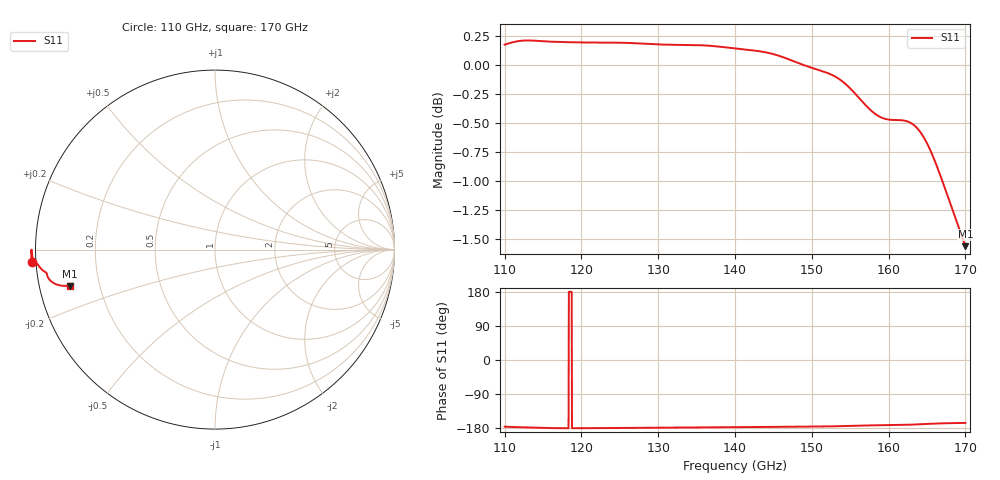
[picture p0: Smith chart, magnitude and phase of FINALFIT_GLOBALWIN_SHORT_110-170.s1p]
! Generated by Phase I extraction
# Hz S RI R 50
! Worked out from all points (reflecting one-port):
!   1471 points, 110 GHz to 170 GHz, reference 50 ohm
!   lowest |S11| = -1.6 dB at 170 GHz (marker M1), VSWR 11.15, Z = 4.55 - j6.08 ohm
!   phase of S11 starts at -176 deg and turns +10 deg over the sweep
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1.1e11  -1.018 -0.0711
1.122857e11  -1.023 -0.0437
1.13551e11  -1.024 -0.0311
1.15102e11  -1.023 -0.0116
1.162857e11  -1.023 -0.00472
1.175102e11  -1.023 -0.00084
1.201224e11  -1.022 -0.00136
1.250204e11  -1.022 -0.0124
1.29102e11  -1.02 -0.0239
1.325306e11  -1.019 -0.0271
1.351429e11  -1.019 -0.0309
1.4e11  -1.015 -0.0457
1.441633e11  -1.01 -0.0588
1.475102e11  -1.001 -0.0715
1.520816e11  -0.9882 -0.0823
1.533878e11  -0.9826 -0.0902
1.550204e11  -0.971 -0.1046
1.568163e11  -0.9547 -0.1193
1.585306e11  -0.9426 -0.1266
1.608163e11  -0.937 -0.1343
1.625306e11  -0.9333 -0.1491
1.634694e11  -0.9269 -0.1609
1.643673e11  -0.9167 -0.173
1.653061e11  -0.902 -0.1846
1.66449e11  -0.88 -0.1951
1.678776e11  -0.851 -0.2012
1.697143e11  -0.8159 -0.202
1.7e11  -0.8106 -0.2019
